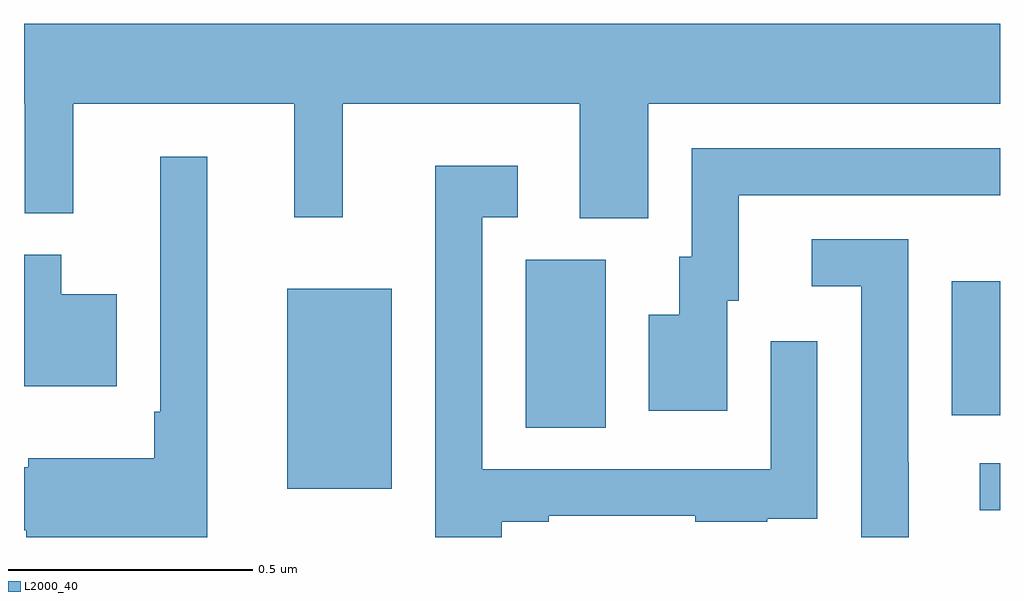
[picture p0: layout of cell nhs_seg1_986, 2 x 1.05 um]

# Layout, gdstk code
import gdstk
lib = gdstk.Library(unit=1e-6, precision=1e-09)
def R(c, l, rs):  # rectangles x0, y0, x1, y1
    for r in rs: c.add(gdstk.rectangle(r[:2], r[2:], *l))
def P(c, l, *ps):  # polygons
    for p in ps: c.add(gdstk.Polygon(p, *l))
L2000_40 = (2000, 40)

nhs_seg1_986 = lib.new_cell('nhs_seg1_986')
R(nhs_seg1_986, L2000_40, [(124.959,528.255,125,528.351), (123.539,528.299,123.754,528.709), (124.028,528.424,124.192,528.768), (124.901,528.449,125,528.724)])
P(nhs_seg1_986, L2000_40, [(124.279,529.088),(125,529.088),(125,529.252),(123,529.252),(123,529.088),(123.002,529.088),(123.002,528.863),(123.101,528.863),(123.101,529.088),(123.554,529.088),(123.554,528.855),(123.653,528.855),(123.653,529.088),(124.139,529.088),(124.139,528.853),(124.279,528.853)],
  [(124.441,528.684),(124.465,528.684),(124.465,528.9),(125,528.9),(125,528.996),(124.368,528.996),(124.368,528.774),(124.343,528.774),(124.343,528.655),(124.28,528.655),(124.28,528.459),(124.441,528.459)],
  [(123.376,528.979),(123.279,528.979),(123.279,528.457),(123.267,528.457),(123.267,528.361),(123.009,528.361),(123.009,528.343),(123,528.343),(123,528.214),(123.005,528.214),(123.005,528.199),(123.376,528.199)],
  [(123.979,528.231),(124.075,528.231),(124.075,528.243),(124.375,528.243),(124.375,528.231),(124.523,528.231),(124.523,528.237),(124.625,528.237),(124.625,528.346),(124.626,528.346),(124.626,528.601),(124.53,528.601),(124.53,528.339),(123.939,528.339),(123.939,528.855),(124.012,528.855),(124.012,528.961),(123.843,528.961),(123.843,528.199),(123.979,528.199)],
  [(124.813,528.353),(124.812,528.353),(124.812,528.81),(124.614,528.81),(124.614,528.714),(124.716,528.714),(124.716,528.199),(124.813,528.199)],
  [(123.19,528.697),(123.076,528.697),(123.076,528.778),(123,528.778),(123,528.509),(123.19,528.509)])

lib.write_gds('nhs_seg1_986.gds')
